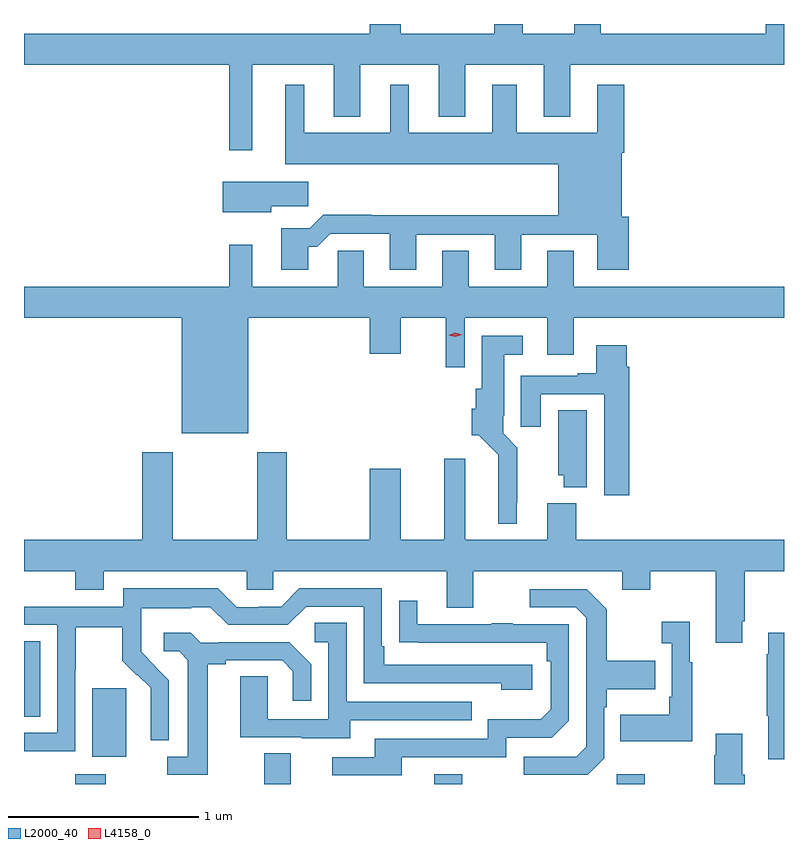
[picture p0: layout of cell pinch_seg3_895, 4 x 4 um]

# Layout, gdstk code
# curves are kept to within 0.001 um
import gdstk
lib = gdstk.Library(unit=1e-6, precision=1e-09)
def R(c, l, rs):  # rectangles x0, y0, x1, y1
    for r in rs: c.add(gdstk.rectangle(r[:2], r[2:], *l))
def P(c, l, *ps):  # polygons
    for p in ps: c.add(gdstk.Polygon(p, *l))
L2000_40 = (2000, 40)
L4158_0 = (4158, 0)

pinch_seg3_895 = lib.new_cell('pinch_seg3_895')
R(pinch_seg3_895, L2000_40, [(786.833,694.467,786.993,694.519), (787.829,694.467,787.969,694.628), (788.723,694.467,788.871,694.519), (789.684,694.467,789.831,694.519), (786.923,694.61,787.102,694.971), (786.564,694.822,786.649,695.219)])
P(pinch_seg3_895, L2000_40, [(787.765,698.252),(788.195,698.252),(788.195,697.979),(788.335,697.979),(788.335,698.252),(788.747,698.252),(788.747,697.979),(788.887,697.979),(788.887,698.252),(789.299,698.252),(789.299,697.979),(789.439,697.979),(789.439,698.252),(790.564,698.252),(790.564,698.467),(790.469,698.467),(790.469,698.416),(789.6,698.416),(789.6,698.467),(789.461,698.467),(789.461,698.416),(789.19,698.416),(789.19,698.467),(789.038,698.467),(789.038,698.416),(788.548,698.416),(788.548,698.467),(788.384,698.467),(788.384,698.416),(786.564,698.416),(786.564,698.252),(787.644,698.252),(787.644,697.803),(787.765,697.803)],
  [(788.059,697.295),(788.108,697.295),(788.175,697.362),(788.489,697.362),(788.489,697.173),(788.629,697.173),(788.629,697.359),(789.041,697.359),(789.041,697.173),(789.181,697.173),(789.181,697.359),(789.581,697.359),(789.581,697.173),(789.746,697.173),(789.746,697.452),(789.709,697.452),(789.709,697.79),(789.722,697.79),(789.722,698.146),(789.581,698.146),(789.581,697.894),(789.157,697.894),(789.157,698.146),(789.029,698.146),(789.029,697.894),(788.59,697.894),(788.59,698.146),(788.492,698.146),(788.492,697.894),(788.038,697.894),(788.038,698.146),(787.94,698.146),(787.94,697.73),(789.377,697.73),(789.377,697.46),(788.393,697.46),(788.393,697.463),(788.138,697.463),(788.068,697.393),(787.919,697.393),(787.919,697.173),(788.059,697.173)],
  [(787.864,697.507),(788.059,697.507),(788.059,697.636),(787.61,697.636),(787.61,697.475),(787.864,697.475)],
  [(787.744,696.92),(788.384,696.92),(788.384,696.732),(788.548,696.732),(788.548,696.92),(788.785,696.92),(788.785,696.66),(788.883,696.66),(788.883,696.92),(789.317,696.92),(789.317,696.726),(789.457,696.726),(789.457,696.92),(790.564,696.92),(790.564,697.084),(789.457,697.084),(789.457,697.274),(789.317,697.274),(789.317,697.084),(788.905,697.084),(788.905,697.274),(788.765,697.274),(788.765,697.084),(788.353,697.084),(788.353,697.274),(788.214,697.274),(788.214,697.084),(787.765,697.084),(787.765,697.306),(787.644,697.306),(787.644,697.084),(786.564,697.084),(786.564,696.92),(787.394,696.92),(787.394,696.314),(787.744,696.314)],
  [(789.157,695.947),(789.161,695.947),(789.161,696.238),(789.087,696.312),(789.087,696.406),(789.091,696.406),(789.091,696.725),(789.19,696.725),(789.19,696.826),(788.972,696.826),(788.972,696.546),(788.942,696.546),(788.942,696.441),(788.921,696.441),(788.921,696.302),(788.958,696.302),(789.06,696.2),(789.059,695.837),(789.157,695.837)],
  [(789.749,696.662),(789.736,696.662),(789.736,696.775),(789.575,696.775),(789.575,696.628),(789.479,696.628),(789.479,696.615),(789.179,696.615),(789.179,696.348),(789.283,696.348),(789.283,696.519),(789.617,696.519),(789.617,695.988),(789.749,695.988)],
  [(789.526,696.434),(789.377,696.434),(789.377,696.093),(789.404,696.093),(789.404,696.029),(789.526,696.029)],
  [(790.345,695.323),(790.358,695.323),(790.358,695.588),(790.564,695.588),(790.564,695.752),(789.47,695.752),(789.47,695.944),(789.317,695.944),(789.317,695.752),(788.887,695.752),(788.887,696.178),(788.777,696.178),(788.777,695.752),(788.548,695.752),(788.548,696.127),(788.384,696.127),(788.384,695.752),(787.947,695.752),(787.947,696.214),(787.792,696.214),(787.792,695.752),(787.347,695.752),(787.347,696.214),(787.187,696.214),(787.187,695.752),(786.564,695.752),(786.564,695.588),(786.833,695.588),(786.833,695.489),(786.985,695.489),(786.985,695.588),(787.737,695.588),(787.737,695.49),(787.875,695.49),(787.875,695.588),(788.789,695.588),(788.789,695.394),(788.929,695.394),(788.929,695.588),(789.713,695.588),(789.713,695.489),(789.861,695.489),(789.861,695.588),(790.205,695.588),(790.205,695.211),(790.345,695.211)],
  [(786.834,695.068),(786.837,695.068),(786.837,695.292),(787.081,695.292),(787.081,695.117),(787.158,695.04),(787.161,695.043),(787.232,694.973),(787.232,694.85),(787.23,694.85),(787.23,694.696),(787.326,694.696),(787.326,695.014),(787.18,695.162),(787.18,695.259),(787.182,695.259),(787.182,695.393),(787.445,695.393),(787.445,695.397),(787.545,695.397),(787.638,695.304),(787.953,695.304),(788.049,695.4),(788.352,695.4),(788.352,694.998),(789.077,694.998),(789.077,694.964),(789.238,694.964),(789.238,695.094),(788.461,695.094),(788.461,695.191),(788.448,695.191),(788.448,695.496),(788.013,695.496),(787.917,695.4),(787.799,695.4),(787.799,695.397),(787.683,695.397),(787.583,695.497),(787.086,695.497),(787.086,695.4),(786.564,695.4),(786.564,695.304),(786.738,695.304),(786.738,694.737),(786.564,694.737),(786.564,694.639),(786.834,694.639)],
  [(789.618,694.602),(789.618,694.871),(789.631,694.871),(789.631,694.967),(789.887,694.967),(789.887,695.115),(789.631,695.115),(789.631,695.387),(789.525,695.493),(789.225,695.493),(789.225,695.397),(789.468,695.397),(789.522,695.343),(789.522,694.662),(789.471,694.611),(789.195,694.611),(789.195,694.515),(789.531,694.515)],
  [(788.551,694.608),(789.102,694.608),(789.102,694.71),(789.342,694.71),(789.432,694.8),(789.432,695.307),(789.137,695.307),(789.137,695.312),(789.025,695.312),(789.025,695.307),(788.635,695.307),(788.635,695.431),(788.539,695.431),(788.539,695.212),(789.316,695.211),(789.316,695.114),(789.336,695.114),(789.336,694.86),(789.283,694.807),(789.006,694.807),(789.006,694.704),(788.411,694.704),(788.411,694.608),(788.187,694.608),(788.187,694.512),(788.551,694.512)],
  [(790.081,695.107),(790.069,695.107),(790.069,695.32),(789.921,695.32),(789.921,695.207),(789.972,695.207),(789.972,694.927),(789.96,694.927),(789.96,694.831),(789.703,694.831),(789.703,694.691),(790.081,694.691)],
  [(788.281,694.803),(788.921,694.803),(788.921,694.899),(788.262,694.899),(788.262,695.315),(788.094,695.315),(788.094,695.214),(788.166,695.214),(788.166,694.809),(787.848,694.809),(787.848,695.033),(787.703,695.033),(787.703,694.713),(788.027,694.713),(788.027,694.709),(788.281,694.709)],
  [(790.564,695.263),(790.481,695.263),(790.481,695.15),(790.474,695.15),(790.474,694.827),(790.481,694.827),(790.481,694.596),(790.564,694.596)],
  [(787.531,695.096),(787.627,695.096),(787.627,695.118),(787.922,695.118),(787.979,695.061),(787.979,694.905),(788.076,694.905),(788.076,695.098),(787.96,695.214),(787.588,695.214),(787.588,695.211),(787.494,695.211),(787.442,695.263),(787.299,695.263),(787.299,695.166),(787.38,695.166),(787.427,695.119),(787.427,694.611),(787.317,694.611),(787.317,694.515),(787.531,694.515)],
  [(790.358,694.516),(790.345,694.516),(790.345,694.732),(790.205,694.732),(790.205,694.619),(790.198,694.619),(790.198,694.467),(790.358,694.467)])
P(pinch_seg3_895, L4158_0, [(788.835,696.821),(788.799,696.83),(788.799,696.83),(788.799,696.83),(788.835,696.841),(788.871,696.832),(788.871,696.832),(788.871,696.831)])

lib.write_gds('pinch_seg3_895.gds')
